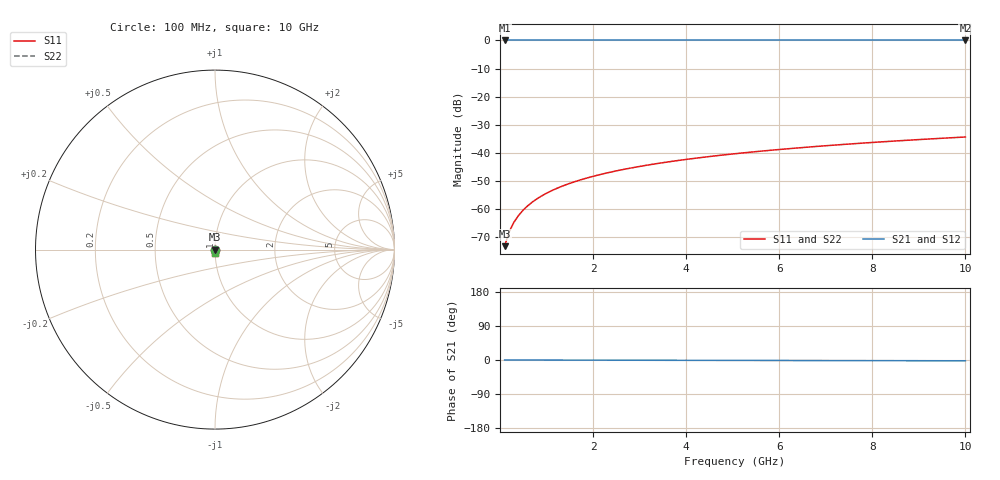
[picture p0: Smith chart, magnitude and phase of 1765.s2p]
# Hz S RI R 50.00
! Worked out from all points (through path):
!   100 points, 100 MHz to 10 GHz, reference 50 ohm
!   highest |S21| = 0.00 dB at 100 MHz (marker M1); lowest = 0.0 dB at 10 GHz (marker M2)
!   lowest |S11| = -73.2 dB at 100 MHz (marker M3), VSWR 1.00, Z = 50 - j0.0191 ohm
!   |S11| at or under -10 dB: start of sweep to end of sweep
!   |S22| runs from -73.2 to -34.4 dB; largest |S21 - S12| = 0
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1e8  0.000106 -0.000191  0.9999 -0.000369  0.9999 -0.000369  0.000106 -0.000191
2e8  0.000107 -0.000381  0.9999 -0.000738  0.9999 -0.000738  0.000107 -0.000381
3e8  0.000106 -0.000572  0.9999 -0.00111  0.9999 -0.00111  0.000106 -0.000572
4e8  0.000106 -0.000763  0.9999 -0.00148  0.9999 -0.00148  0.000106 -0.000763
5e8  0.000106 -0.000954  0.9999 -0.00185  0.9999 -0.00185  0.000106 -0.000954
6e8  0.000105 -0.00114  0.9999 -0.00221  0.9999 -0.00221  0.000105 -0.00114
7e8  0.000104 -0.00134  0.9999 -0.00258  0.9999 -0.00258  0.000104 -0.00134
8e8  0.000103 -0.00153  0.9999 -0.00295  0.9999 -0.00295  0.000103 -0.00153
9e8  0.000102 -0.00172  0.9999 -0.00332  0.9999 -0.00332  0.000102 -0.00172
1.1e9  9.89e-05 -0.0021  0.9999 -0.00406  0.9999 -0.00406  9.89e-05 -0.0021
1.4e9  9.34e-05 -0.00267  0.9999 -0.00517  0.9999 -0.00517  9.34e-05 -0.00267
1.8e9  8.41e-05 -0.00343  0.9999 -0.00664  0.9999 -0.00664  8.41e-05 -0.00343
2.1e9  7.56e-05 -0.00401  0.9998 -0.00775  0.9998 -0.00775  7.56e-05 -0.00401
2.5e9  6.22e-05 -0.00477  0.9998 -0.00923  0.9998 -0.00923  6.22e-05 -0.00477
2.9e9  4.65e-05 -0.00553  0.9998 -0.0107  0.9998 -0.0107  4.65e-05 -0.00553
3.4e9  2.37e-05 -0.00649  0.9998 -0.0126  0.9998 -0.0126  2.37e-05 -0.00649
4.2e9  -2.02e-05 -0.00802  0.9997 -0.0155  0.9997 -0.0155  -2.02e-05 -0.00802
5.1e9  -8.05e-05 -0.00974  0.9996 -0.0188  0.9996 -0.0188  -8.05e-05 -0.00974
5.9e9  -0.000144 -0.0113  0.9996 -0.0218  0.9996 -0.0218  -0.000144 -0.0113
6.7e9  -0.000216 -0.0128  0.9995 -0.0248  0.9995 -0.0248  -0.000216 -0.0128
8.4e9  -0.0004 -0.0161  0.9992 -0.0311  0.9992 -0.0311  -0.0004 -0.0161
1e10  -0.000612 -0.0191  0.999 -0.037  0.999 -0.037  -0.000612 -0.0191
